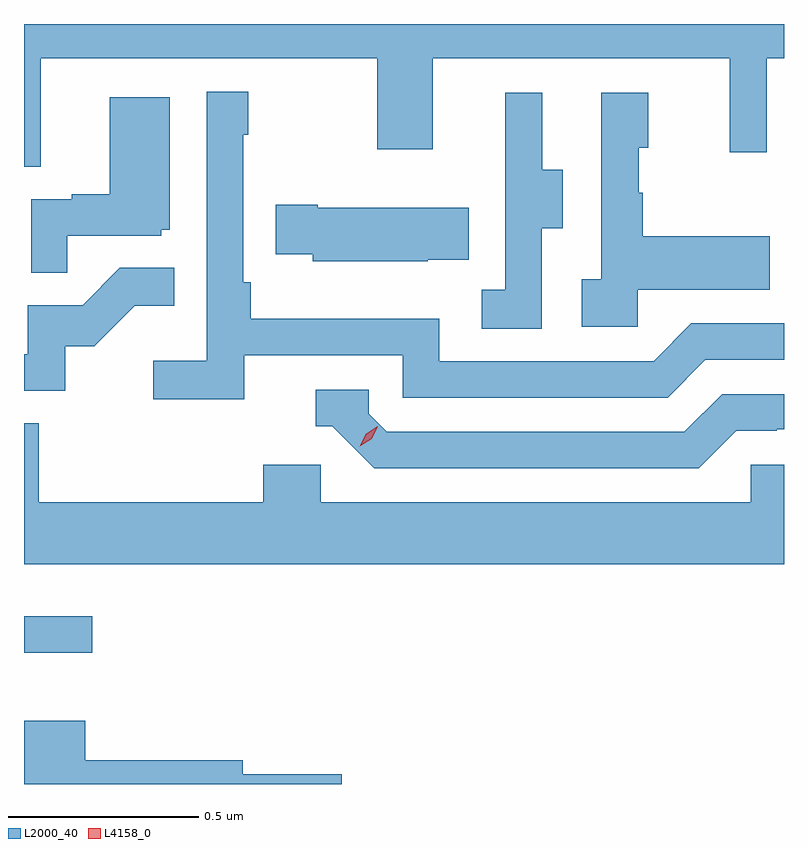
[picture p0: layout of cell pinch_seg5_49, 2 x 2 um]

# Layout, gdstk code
import gdstk
lib = gdstk.Library(unit=1e-6, precision=1e-09)
def R(c, l, rs):  # rectangles x0, y0, x1, y1
    for r in rs: c.add(gdstk.rectangle(r[:2], r[2:], *l))
def P(c, l, *ps):  # polygons
    for p in ps: c.add(gdstk.Polygon(p, *l))
L2000_40 = (2000, 40)
L4158_0 = (4158, 0)

pinch_seg5_49 = lib.new_cell('pinch_seg5_49')
R(pinch_seg5_49, L2000_40, [(1083.977,903.147,1084.156,903.244)])
P(pinch_seg5_49, L2000_40, [(1083.977,904.426),(1084.021,904.426),(1084.021,904.712),(1084.906,904.712),(1084.906,904.473),(1085.053,904.473),(1085.053,904.712),(1085.834,904.712),(1085.834,904.464),(1085.931,904.464),(1085.931,904.712),(1085.977,904.712),(1085.977,904.802),(1083.977,904.802)],
  [(1084.556,903.93),(1084.974,903.93),(1084.974,903.819),(1085.671,903.819),(1085.77,903.918),(1085.977,903.918),(1085.977,904.014),(1085.733,904.014),(1085.634,903.915),(1085.07,903.915),(1085.07,904.027),(1084.574,904.027),(1084.574,904.123),(1084.554,904.123),(1084.554,904.511),(1084.567,904.511),(1084.567,904.624),(1084.458,904.624),(1084.458,903.916),(1084.317,903.916),(1084.317,903.814),(1084.556,903.814)],
  [(1085.34,904.264),(1085.395,904.264),(1085.395,904.419),(1085.341,904.419),(1085.341,904.621),(1085.243,904.621),(1085.243,904.407),(1085.244,904.407),(1085.244,904.103),(1085.181,904.103),(1085.181,904),(1085.34,904)],
  [(1085.592,904.103),(1085.939,904.103),(1085.939,904.243),(1085.605,904.243),(1085.605,904.358),(1085.595,904.358),(1085.595,904.476),(1085.62,904.476),(1085.62,904.621),(1085.496,904.621),(1085.496,904.13),(1085.445,904.13),(1085.445,904.005),(1085.592,904.005)],
  [(1084.091,904.245),(1084.338,904.245),(1084.338,904.26),(1084.36,904.26),(1084.36,904.609),(1084.202,904.609),(1084.202,904.354),(1084.103,904.354),(1084.103,904.341),(1083.996,904.341),(1083.996,904.147),(1084.091,904.147)],
  [(1085.039,904.181),(1085.147,904.181),(1085.147,904.318),(1084.75,904.318),(1084.75,904.326),(1084.639,904.326),(1084.639,904.196),(1084.737,904.196),(1084.737,904.178),(1085.039,904.178)],
  [(1084.086,903.954),(1084.162,903.954),(1084.269,904.061),(1084.373,904.061),(1084.373,904.16),(1084.229,904.16),(1084.131,904.062),(1083.987,904.062),(1083.987,903.933),(1083.977,903.933),(1083.977,903.837),(1084.086,903.837)],
  [(1085.851,903.732),(1085.958,903.732),(1085.958,903.735),(1085.977,903.735),(1085.977,903.828),(1085.814,903.828),(1085.715,903.729),(1084.932,903.729),(1084.884,903.777),(1084.884,903.84),(1084.745,903.84),(1084.745,903.744),(1084.788,903.744),(1084.899,903.633),(1085.752,903.633)],
  [(1085.977,903.642),(1085.889,903.642),(1085.889,903.544),(1084.758,903.544),(1084.758,903.642),(1084.607,903.642),(1084.607,903.544),(1084.016,903.544),(1084.016,903.752),(1083.977,903.752),(1083.977,903.38),(1085.977,903.38)],
  [(1084.813,902.828),(1084.552,902.828),(1084.552,902.864),(1084.138,902.864),(1084.138,902.968),(1083.977,902.968),(1083.977,902.802),(1084.813,902.802)])
P(pinch_seg5_49, L4158_0, [(1084.86,903.691),(1084.86,903.691),(1084.877,903.724),(1084.908,903.743),(1084.908,903.743),(1084.908,903.743),(1084.892,903.71),(1084.861,903.691)])

lib.write_gds('pinch_seg5_49.gds')
